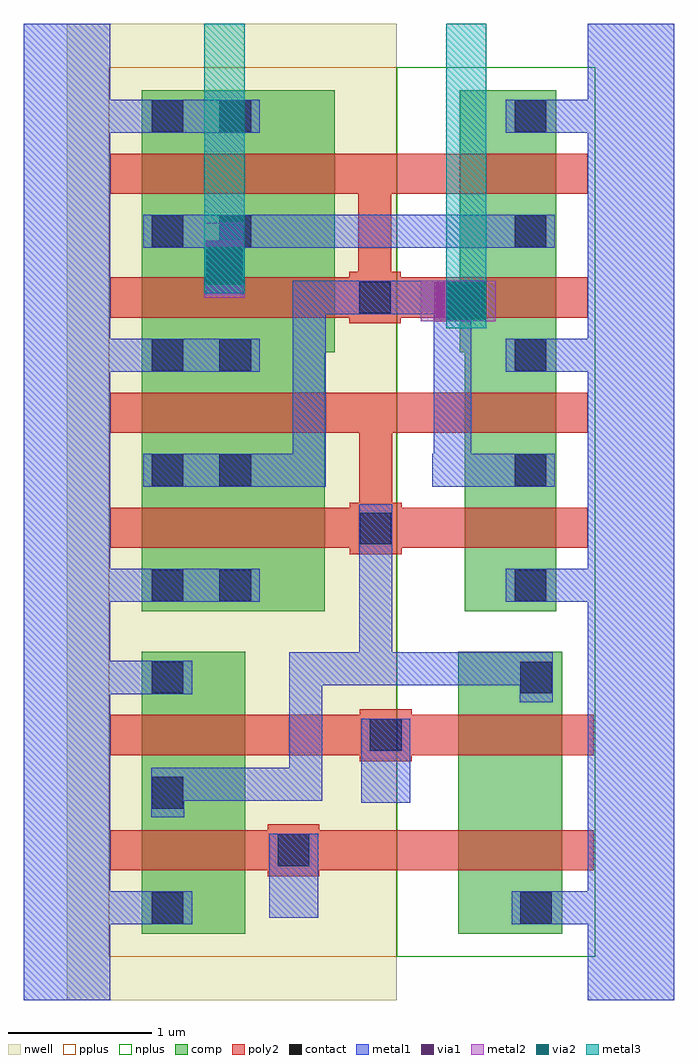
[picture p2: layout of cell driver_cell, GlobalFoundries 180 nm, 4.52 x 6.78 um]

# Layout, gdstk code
import gdstk
lib = gdstk.Library(unit=1e-6, precision=5e-09)
def R(c, l, rs):  # rectangles x0, y0, x1, y1
    for r in rs: c.add(gdstk.rectangle(r[:2], r[2:], *l))
def A(c, l, x, y, w, h, nx, ny, dx, dy):  # array of equal rectangles
    R(c, l, [(x+i*dx, y+j*dy, x+i*dx+w, y+j*dy+h) for i in range(nx) for j in range(ny)])
nwell = (21, 0)
comp = (22, 0)
poly2 = (30, 0)
pplus = (31, 0)
nplus = (32, 0)
contact = (33, 0)
metal1 = (34, 0)
via1 = (35, 0)
metal2 = (36, 0)
via2 = (38, 0)
metal3 = (42, 0)

driver_cell = lib.new_cell('driver_cell')
R(driver_cell, nwell, [(-2.085,-2.665,0.205,4.115)])
R(driver_cell, comp, [(-1.565,-2.205,-0.845,-0.245), (0.635,-2.205,1.355,-0.245), (-1.565,0.035,-0.295,1.835), (0.68,0.035,1.315,1.835), (-1.565,1.835,-0.225,3.655), (0.645,1.835,1.315,3.655)])
A(driver_cell, poly2, -1.785, 0.475, 3.32, 0.28, 1, 3, 0, 0.8)
R(driver_cell, poly2, [(-0.69,-1.805,-0.33,-1.445), (-1.785,-1.765,1.575,-1.485), (-0.05,-1.005,0.31,-0.645), (-1.785,-0.965,1.575,-0.685), (-0.12,0.43,0.24,0.79), (-0.055,0.75,0.175,1.275), (-0.125,2.035,0.235,2.395), (-0.06,2.355,0.17,2.935), (-1.785,2.935,1.535,3.215)])
R(driver_cell, pplus, [(-1.795,-2.365,0.205,3.815)])
R(driver_cell, nplus, [(0.205,-2.365,1.585,3.815)])
A(driver_cell, contact, -1.495, -2.135, 0.22, 0.22, 1, 3, 0, 0.8)
A(driver_cell, contact, -1.495, 0.105, 0.22, 0.22, 1, 3, 0, 0.8)
A(driver_cell, contact, -1.025, 0.105, 0.22, 0.22, 1, 3, 0, 0.8)
A(driver_cell, contact, 1.025, 0.105, 0.22, 0.22, 1, 3, 0, 0.8)
R(driver_cell, contact, [(1.065,-2.135,1.285,-1.915), (-0.62,-1.735,-0.4,-1.515), (0.02,-0.935,0.24,-0.715), (1.065,-0.535,1.285,-0.315), (-0.05,0.5,0.17,0.72), (-0.055,2.105,0.165,2.325), (-1.495,2.565,-1.275,2.785), (-1.025,2.565,-0.805,2.785), (1.025,2.565,1.245,2.785), (-1.495,3.365,-1.275,3.585), (-1.025,3.365,-0.805,3.585), (1.025,3.365,1.245,3.585)])
R(driver_cell, metal1, [(-2.385,-2.665,-1.785,4.115), (1.535,-2.665,2.135,4.115), (-1.785,-2.14,-1.215,-1.91), (1.005,-2.14,1.535,-1.91), (-0.68,-2.095,-0.34,-1.51), (-1.5,-1.395,-1.27,-1.05), (-0.04,-1.295,0.3,-0.71), (-1.27,-1.28,-0.31,-1.05), (-0.54,-1.05,-0.31,-0.48), (1.06,-0.595,1.29,-0.25), (-1.785,-0.54,-1.215,-0.31), (-0.54,-0.48,1.06,-0.25), (-0.055,-0.25,0.175,0.78), (-1.785,0.1,-0.745,0.33), (0.965,0.1,1.535,0.33), (-1.555,0.9,-0.285,1.13), (0.455,0.9,1.305,1.13), (-0.515,1.13,-0.285,2.1), (0.465,1.13,0.725,2.1), (-1.785,1.7,-0.745,1.93), (0.965,1.7,1.535,1.93), (-0.515,2.1,0.79,2.33), (-1.12,2.23,-0.86,2.79), (-1.555,2.56,1.305,2.79), (-1.785,3.36,-0.745,3.59), (0.965,3.36,1.535,3.59)])
R(driver_cell, via1, [(0.465,2.06,0.725,2.32), (-1.12,2.35,-0.86,2.61)])
R(driver_cell, metal2, [(0.375,2.05,0.895,2.33), (-1.13,2.215,-0.85,2.735)])
R(driver_cell, via2, [(0.56,2.06,0.82,2.32), (-1.12,2.305,-0.86,2.565)])
R(driver_cell, metal3, [(0.55,2,0.83,4.115), (-1.13,2.245,-0.85,4.115)])

lib.write_gds('driver_cell.gds')
